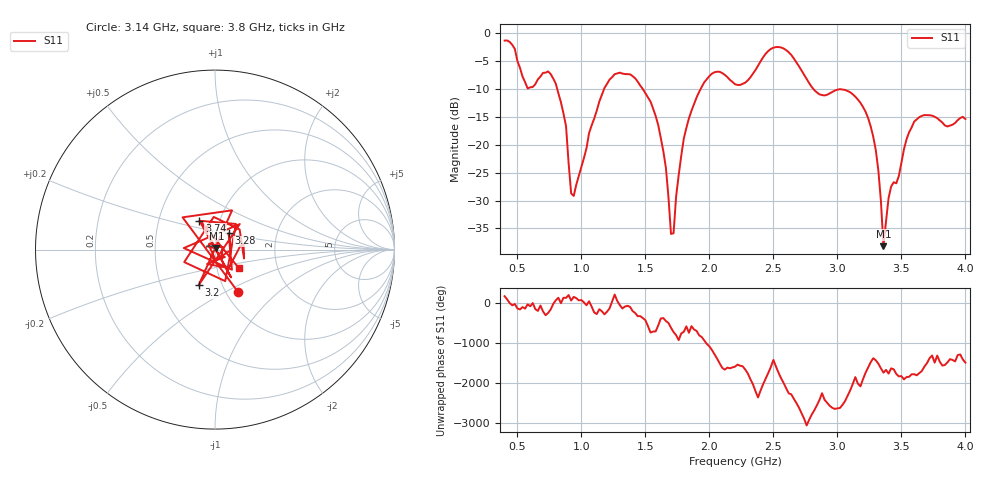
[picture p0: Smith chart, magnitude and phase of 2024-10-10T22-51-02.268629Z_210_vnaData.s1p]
! Created with skrf (http://scikit-rf.org).
# Hz S RI R 50.0
!freq ReS11 ImS11
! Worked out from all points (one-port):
!   181 points, 400 MHz to 4 GHz, reference 50 ohm
!   lowest |S11| = -38.2 dB at 3.36 GHz (marker M1), VSWR 1.02, Z = 50.8 + j0.951 ohm
!   |S11| at or under -10 dB: 811.4 MHz to 1.177 GHz (365.4 MHz wide, 36.8 % of centre); 1.481 GHz to 1.931 GHz (450.4 MHz wide, 26.4 % of centre); 2.813 GHz to end of sweep
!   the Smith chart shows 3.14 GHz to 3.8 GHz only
!   S11 on the Smith chart (normalised r, x): 3.14 GHz: 1.14, -0.58; 3.2 GHz: 0.77, -0.32; 3.28 GHz: 1.14, +0.21; 3.74 GHz: 0.80, +0.27; 3.8 GHz: 1.27, -0.26
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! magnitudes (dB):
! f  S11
! 400 MHz  -1.3
! 580 MHz  -9.9
! 760 MHz  -7.3
! 860 MHz  -14.4
! 940 MHz  -29.2
! 1.16 GHz  -11.0
! 1.3 GHz  -7.0
! 1.58 GHz  -14.8
! 1.66 GHz  -24.1
! 1.7 GHz  -36.0
! 1.76 GHz  -25.5
! 1.84 GHz  -15.2
! 1.96 GHz  -8.8
! 2.2 GHz  -9.1
! 2.5 GHz  -2.6
! 2.66 GHz  -4.5
! 2.86 GHz  -10.9
! 3.1 GHz  -10.6
! 3.14 GHz  -11.4
! 3.2 GHz  -13.2
! 3.28 GHz  -18.5
! 3.32 GHz  -24.6
! 3.36 GHz  -38.2
! 3.42 GHz  -27.5
! 3.56 GHz  -17.7
! 3.74 GHz  -14.8
! 3.8 GHz  -15.6
! 4 GHz  -15.4
